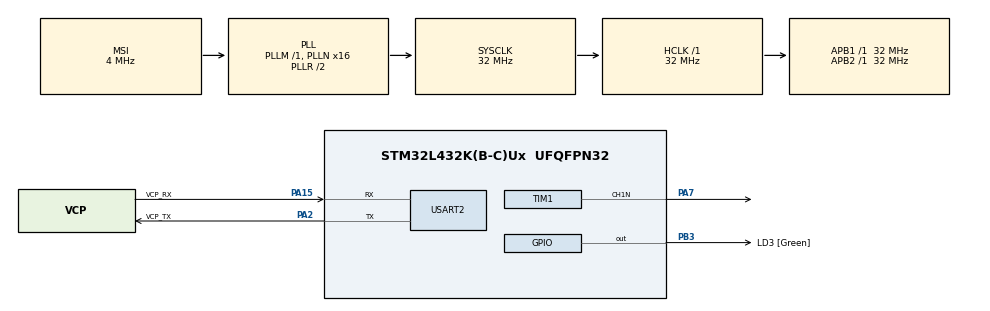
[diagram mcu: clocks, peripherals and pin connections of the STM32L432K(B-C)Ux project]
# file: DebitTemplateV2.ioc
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Mcu.Family=STM32L4
RCC.MSI_VALUE=4000000
PA14\ (JTCK-SWCLK).Mode=Serial_Wire
RCC.CortexFreq_Value=32000000
PA7.Mode=PWM Generation1 CH1N
PA0.GPIO_Label=MCO [High speed clock in]
PC15-OSC32_OUT\ (PC15).Signal=RCC_OSC32_OUT
PA15\ (JTDI).Signal=USART2_RX
PC15-OSC32_OUT\ (PC15).Mode=LSE-External-Oscillator
PA14\ (JTCK-SWCLK).GPIO_Label=SWCLK
PB3\ (JTDO-TRACESWO).GPIO_Label=LD3 [Green]
RCC.SYSCLKSource=RCC_SYSCLKSOURCE_PLLCLK
ProjectManager.StackSize=0x400
PB3\ (JTDO-TRACESWO).Signal=GPIO_Output
PC14-OSC32_IN\ (PC14).Mode=LSE-External-Oscillator
PA14\ (JTCK-SWCLK).Signal=SYS_JTCK-SWCLK
RCC.HSI16_VALUE=16000000
PA15\ (JTDI).Mode=Asynchronous
ProjectManager.TargetToolchain=STM32CubeIDE
RCC.HCLKFreq_Value=32000000
RCC.APB2TimFreq_Value=32000000
RCC.AHBFreq_Value=32000000
RCC.HSE_VALUE=8000000
board=NUCLEO-L432KC
USART2.VirtualMode-Asynchronous=VM_ASYNC
RCC.VCOOutputFreq_Value=64000000
RCC.PLLMUL=RCC_PLLMUL_4
RCC.APB2Freq_Value=32000000
PA13\ (JTMS-SWDIO).GPIO_Label=SWDIO
PA0.Mode=HSE-External-Clock-Source-for-LittleOrca
TIM1.Channel-PWM\ Generation1\ CH1N=TIM_CHANNEL_1
PA15\ (JTDI).GPIO_Label=VCP_RX
Mcu.Name=STM32L432K(B-C)Ux
PA2.Signal=USART2_TX
PA0.Signal=RCC_CK_IN
PA13\ (JTMS-SWDIO).Mode=Serial_Wire
RCC.SYSCLKFreq_VALUE=32000000
Mcu.Package=UFQFPN32
PC14-OSC32_IN\ (PC14).Signal=RCC_OSC32_IN
PA2.GPIO_Label=VCP_TX
ProjectManager.HeapSize=0x200
RCC.HSI_VALUE=16000000
NVIC.PriorityGroup=NVIC_PRIORITYGROUP_4
RCC.PLLN=16
RCC.APB1TimFreq_Value=32000000
PA2.Mode=Asynchronous
PA13\ (JTMS-SWDIO).Signal=SYS_JTMS-SWDIO
RCC.APB1Freq_Value=32000000
RCC.HSI48_VALUE=48000000
PA7.Signal=TIM1_CH1N

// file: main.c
/* USER CODE BEGIN Header */
/*******************************************************************************
 * File Name          : main.c Debit Machine
 * Description        : This is a real time demonstration of Debit Machine
 * 		Consisting of 7 different states - 7th state is initial state
 * 		Consisting of 5 different buttons
 * 		Consisting of a speaker
 * 		Consisting of 1 LCD screen
 * 		Consisting of 1 STM32 Nucleo
 *		Demonstration of real life debit machine.
 *
 *
 * Author:              Sinan KARACA
 * Date:                15.08.2021
 ******************************************************************************
 */
/* USER CODE END Header */
#include "main.h"

/* USER CODE BEGIN Includes */
#include <unistd.h>
#include <stdio.h>
#include "debounce.h"
#include "HD44780.h"

/* USER CODE END Includes */

TIM_HandleTypeDef htim1;

UART_HandleTypeDef huart2;

/* USER CODE BEGIN PV */
static const int16_t leftBtn = 0; //setting the pin assigned to each pb
static const int16_t rightBtn = 1;		//don't use pin 2 as it's connected
static const int16_t downBtn = 4;		//to VCP TX
static const int16_t upBtn = 3;
static const int16_t enterBtn = 7;
float bankCheck;

uint8_t passCode[4] = { '1', '2','3','4'};

uint16_t intAmount;
uint8_t indexTmp = 0;
uint8_t btnState;
//float amount = 1;
int multiplier = 1;
float amount = 1;             	//used to hold the transaction amount

uint8_t passCodesInt[4] = { 9,9,9,9};

uint8_t amountArray[5] = { 0,0,0,0,0};
char str[4] = { "****"} ;
uint8_t tempState;

enum pushButton {
	none, left, right, down, up, enter
};
//enumerated values for use with if
//(pbPressed == value) type conditional
//statements

/* USER CODE END PV */

void SystemClock_Config(void);
static void MX_GPIO_Init(void);
static void MX_USART2_UART_Init(void);
static void MX_TIM1_Init(void);

/* USER CODE BEGIN 0 */

// FUNCTION      : setTone
// DESCRIPTION   : Calculates the PWM Period needed to obtain the freq
//				 : passed and the duty cycle of the PAM to
//				 : 50% (1/2 of the period)
// PARAMETERS    : int32 freq - frequency of the output
// RETURNS       : nothing
void setTone(int32_t freq) {
	int32_t pwmPeriod = 1000000000 / (freq * 250); //value can vary between 2 and 65535
	TIM_MasterConfigTypeDef sMasterConfig;
	TIM_OC_InitTypeDef sConfigOC;
	TIM_BreakDeadTimeConfigTypeDef sBreakDeadTimeConfig;

	htim1.Instance = TIM1;
	htim1.Init.Prescaler = 0;
	htim1.Init.CounterMode = TIM_COUNTERMODE_UP;
	htim1.Init.Period = pwmPeriod;
	htim1.Init.ClockDivision = TIM_CLOCKDIVISION_DIV1;
	htim1.Init.RepetitionCounter = 0;
	if (HAL_TIM_PWM_Init(&htim1) != HAL_OK) {
		Error_Handler();
	}

	sMasterConfig.MasterOutputTrigger = TIM_TRGO_RESET;
	sMasterConfig.MasterOutputTrigger2 = TIM_TRGO2_RESET;
	sMasterConfig.MasterSlaveMode = TIM_MASTERSLAVEMODE_DISABLE;
	if (HAL_TIMEx_MasterConfigSynchronization(&htim1, &sMasterConfig)
			!= HAL_OK) {
		Error_Handler();
	}

	sConfigOC.OCMode = TIM_OCMODE_PWM1;
	sConfigOC.Pulse = pwmPeriod / 2;
	sConfigOC.OCPolarity = TIM_OCPOLARITY_HIGH;
	sConfigOC.OCNPolarity = TIM_OCNPOLARITY_HIGH;
	sConfigOC.OCFastMode = TIM_OCFAST_DISABLE;
	sConfigOC.OCIdleState = TIM_OCIDLESTATE_RESET;
	sConfigOC.OCNIdleState = TIM_OCNIDLESTATE_RESET;
	/* adding this as ST Tech Support said PWM should be stopped before
	 * calling HAL_TIM_PWM_ConfigChannel and I've been getting flakey start-up
	 * i.e.: sometime PWM starts up, other times the line remains stuck high.
	 **************************************/
	HAL_TIM_PWM_Stop(&htim1, TIM_CHANNEL_1);
	/*************************************/
	if (HAL_TIM_PWM_ConfigChannel(&htim1, &sConfigOC, TIM_CHANNEL_1)
			!= HAL_OK) {
		Error_Handler();
	}

	sBreakDeadTimeConfig.OffStateRunMode = TIM_OSSR_DISABLE;
	sBreakDeadTimeConfig.OffStateIDLEMode = TIM_OSSI_DISABLE;
	sBreakDeadTimeConfig.LockLevel = TIM_LOCKLEVEL_OFF;
	sBreakDeadTimeConfig.DeadTime = 0;
	sBreakDeadTimeConfig.BreakState = TIM_BREAK_DISABLE;
	sBreakDeadTimeConfig.BreakPolarity = TIM_BREAKPOLARITY_HIGH;
	sBreakDeadTimeConfig.BreakFilter = 0;
	sBreakDeadTimeConfig.Break2State = TIM_BREAK2_DISABLE;
	sBreakDeadTimeConfig.Break2Polarity = TIM_BREAK2POLARITY_HIGH;
	sBreakDeadTimeConfig.Break2Filter = 0;
	sBreakDeadTimeConfig.AutomaticOutput = TIM_AUTOMATICOUTPUT_DISABLE;
	if (HAL_TIMEx_ConfigBreakDeadTime(&htim1, &sBreakDeadTimeConfig)
			!= HAL_OK) {
		Error_Handler();
	}
	HAL_TIM_MspPostInit(&htim1);
}

// FUNCTION      : waitForPBRelease
// DESCRIPTION   : Loops until the PB that is currently
//				 : pressed and at a logic low
//				 : is released. Release is debounced
// PARAMETERS    : pin - pin number
//                 port- port letter ie 'A'
// RETURNS       : nothing
void waitForPBRelease(const int16_t pin, const char port) {
	while (deBounceReadPin(pin, port, 10) == 0) {
		//do nothing wait for key press to be released
	}
}

// FUNCTION      : startUpLCDSplashScreen()
// DESCRIPTION   : displays Debit Demo for 2s
//                 on line 1 of the display and
//				 : Disappears
// PARAMETERS    : None
// RETURNS       : nothing
void startUpLCDSplashScreen(void) {
	char stringBuffer[16] = { 0 };
	HD44780_GotoXY(0, 0);
	snprintf(stringBuffer, 16, "   Debit Demo");
	HD44780_PutStr(stringBuffer);
	HAL_Delay(2000);
	HD44780_ClrScr();
}

//// FUNCTION      : pinSound()
//// DESCRIPTION   : This is the function makes the sound
////		When each pin pushed
////
//// PARAMETERS    : None
//// RETURNS       : nothing
//
//void pinSound(){
//	setTone(100);
//	HAL_Delay(50);
//	setTone(0);
//}

//// FUNCTION      : bankCheckSound()
//// DESCRIPTION   : This is the function when the transaction
////		is done succesfully.
////
//// PARAMETERS    : None
//// RETURNS       : nothing
//void bankCheckSound(){
//	setTone(2000);
//	HAL_Delay(100);
//	setTone(0);
//	setTone(2000);
//	HAL_Delay(100);
//	setTone(0);
//}

//// FUNCTION      : bankDeniedSound()
//// DESCRIPTION   : This is the function when the transaction
////		is denied by bank.
////
//// PARAMETERS    : None
//// RETURNS       : nothing
//
//void bankDeniedSound(){
//	setTone(10000);
//	HAL_Delay(500);
//}

// FUNCTION      : showChequingOrSavings()
// DESCRIPTION   : The function shows if the transaction will be done
//		from chequing or saving account.
//		or to be cancelled.
//
// PARAMETERS    : None
// RETURNS       : nothing

void showChequingOrSavings (int input){

	char stringBuffer[16] = { 0 };

	if (input == 1) {
		//then up was pressed.
		HD44780_ClrScr();
		snprintf(stringBuffer, 16, "Chequing...");
		HD44780_GotoXY(1, 0);
		HD44780_PutStr(stringBuffer);
	} else if (input == 2) {
		//then down pressed
		HD44780_ClrScr();
		HD44780_GotoXY(1, 0);
		snprintf(stringBuffer, 16, "Savings...");
		HD44780_PutStr(stringBuffer);

	}else if (input == 3) {
		//then right pressed
		HD44780_ClrScr();
		snprintf(stringBuffer, 16, "Cancel...");
		HD44780_GotoXY(1, 0);
		HD44780_PutStr(stringBuffer);

	}

}

// FUNCTION      : pulsePWM
// DESCRIPTION   : Turns on the PWM for the pulseTime in ms
//                 provided and then turns off PWM
// PARAMETERS    : address of Timer Handle var (e.g.: &htim1)
//                 pulseTime in ms
// RETURNS       : nothing
void pulsePWM(TIM_HandleTypeDef *htim1, int32_t pulseTime) {
	HAL_TIMEx_PWMN_Start(htim1, TIM_CHANNEL_1);
	HAL_Delay(pulseTime);
	HAL_TIMEx_PWMN_Stop(htim1, TIM_CHANNEL_1);
}

//  FUNCTION      : pushButtonInit
//   DESCRIPTION   : Calls deBounceInit to initialize ports that
//                   will have pushbutton on them to be inputs.
//			         Initializing PA0,PA1,PA4 and PA3
//                   Switches are assigned as follows
//                   PA0			PA1			PA4			PA3 	PA3
//                   left		right		down			up		enter
//
//                   Note: Don't use PA2 as it is connected to VCP TX and you'll
//                   lose printf output ability.
//   PARAMETERS    : None
//   RETURNS       : nothing
void pushButtonInit(void) {
	deBounceInit(leftBtn, 'A', 1); 		//1 = pullup resistor enabled
	deBounceInit(rightBtn, 'A', 1); 		//1 = pullup resistor enabled
	deBounceInit(downBtn, 'A', 1); 			//1 = pullup resistor enabled
	deBounceInit(upBtn, 'A', 1); 		//1 = pullup resistor enabled
	deBounceInit(enterBtn, 'A', 1);		//1 = pullup resistor enabled
}

// FUNCTION      : displayWelcome()
// DESCRIPTION   : clears the LCD display and displays
//                 Welcome on line 1 of the display
// PARAMETERS    : None
// RETURNS       : nothing
void displayWelcome(void) {
	char stringBuffer[16] = { 0 };
	HD44780_ClrScr();
	snprintf(stringBuffer, 16, "Debit Machine");
	HD44780_PutStr(stringBuffer);
	HD44780_GotoXY(0, 1);
	HD44780_PutStr("Sinan KARACA");
}

// FUNCTION      : wrongPinScreen()
// DESCRIPTION   : Shows if the pin is not correct
//
// PARAMETERS    : None
// RETURNS       : nothing

void wrongPinScreen(){
	HD44780_ClrScr();
	HD44780_GotoXY(0, 0);
	HD44780_PutStr("Wrong Pin!");
	HD44780_GotoXY(0, 1);
	HD44780_PutStr("Try Again !!");
}

// FUNCTION      : succesfullScreen()
// DESCRIPTION   : Shows if the pin is correct
//
// PARAMETERS    : None
// RETURNS       : nothing

void succesfullScreen(void){
	HD44780_ClrScr();
	HD44780_GotoXY(0, 0);
	HD44780_PutStr("Pin Correct!");
	HD44780_GotoXY(0, 1);
	HD44780_PutStr("Wait for bank!");

}

// FUNCTION      : choosePin()
// DESCRIPTION   : Shows how to choose pin
// 		with up and down buttons
//
// PARAMETERS    : None
// RETURNS       : nothing

void choosePin(void){
	HD44780_ClrScr();
	HD44780_GotoXY(0, 0);
	HD44780_PutStr("Choose Pin!");
	HD44780_GotoXY(0, 1);
	HD44780_PutStr("With up&down");
}

// FUNCTION      : displayAmount()
// DESCRIPTION   : clears the LCD display and displays
//                 the $amount received on line 1 of the display
// PARAMETERS    : float - amount to display
// RETURNS       : nothing
void displayAmount(float amount) {
	char stringBuffer[16] = { 0 };
	HD44780_ClrScr();
	snprintf(stringBuffer, 16, "$%.2f", amount);
	HD44780_PutStr(stringBuffer);
}

// FUNCTION      : checkIfBankOk()
// DESCRIPTION   :
// PARAMETERS    : none
// RETURNS       : integer
float checkIfBankOk() {

	float bankCheckTemp ;
	printf("Waiting for the approval of the transaction \r\n");
	printf("Please type 1 for approval \r\n");
	printf("Please type 2 for denial \r\n");
	float result = 0;
	result = scanf("%f", &bankCheckTemp);
	if (result == 0)		//then somehow non-float chars were entered
	{						//and nothing was assigned to %f
		fpurge(STDIN_FILENO); //clear the last erroneous char(s) from the input stream
	}
	return result;
}

// FUNCTION      : checkOkOrCancel()
// DESCRIPTION   : Checks whether the OK or Cancel
//                 button has been pressed.
// PARAMETERS    : none
// RETURNS       : int8_t, 3 if cancel pressed, 4 if ok
//                 ok pressed. 0 returned if neither
//                 has pressed.
enum pushButton checkOkOrCancel(void) {
	if (deBounceReadPin(upBtn, 'A', 10) == 0) {
		//then the cancel pushbutton has been pressed
		return up;
	} else if (deBounceReadPin(downBtn, 'A', 10) == 0) {
		//then ok pressed
		return down;
	}else if (deBounceReadPin(rightBtn, 'A', 10) == 0) {
		//then ok pressed
		return right;
	}else if (deBounceReadPin(leftBtn, 'A', 10) == 0) {
		//then ok pressed
		return left;
	}else if (deBounceReadPin(enterBtn, 'A', 10) == 0) {
		//then ok pressed
		return enter;
	}
	return none; //as ok or cancel was not pressed.
}

// FUNCTION      : displayOkOrCancel()
// DESCRIPTION   : displays "OK or Cancel?" on line 2 of LCD
// PARAMETERS    : none
// RETURNS       : nothing.
void displayOkCancel(float amount) {
	HD44780_ClrScr();
	char stringBuffer[16] = { 0 };
	HD44780_GotoXY(0, 1); //move to second line first position
	snprintf(stringBuffer, 16, "OK or Cancel?");
	HD44780_PutStr(stringBuffer);
	HD44780_GotoXY(9, 0);
	snprintf(stringBuffer, 16, "$%.2f", amount);
	HD44780_PutStr(stringBuffer);
}

// FUNCTION      : receipt()
// DESCRIPTION   : successfull transaction receipt
// PARAMETERS    : none
// RETURNS       : nothing.

void receipt() {
	printf("The transaction was successfull \r\n");

	HD44780_ClrScr();
	HD44780_GotoXY(0, 0);
	HD44780_PutStr("The receipt:");
	HD44780_GotoXY(0, 1);

	if(tempState == 1){
		HD44780_PutStr("Chequing Acc.");
	} else if (tempState == 2) {
		HD44780_PutStr("Savings Acc.");
	}

	HAL_Delay(5000);

	displayAmount(amount);
	HD44780_GotoXY(0, 1);
	HD44780_PutStr("Thank you!");
	HAL_Delay(5000);
}

/* USER CODE END 0 */

int main(void)
{

  /* MCU Configuration--------------------------------------------------------*/

  /* Reset of all peripherals, Initializes the Flash interface and the Systick. */
  HAL_Init();

  /* Configure the system clock */
  SystemClock_Config();

  /* Initialize all configured peripherals */
  MX_GPIO_Init();
  MX_USART2_UART_Init();
  MX_TIM1_Init();
  /* USER CODE BEGIN 2 */

	printf("Debit Card State Machine\r\n");
	HD44780_Init();
	/* setup Port A bits 0,1,2 and 3, i.e.: PA0-PA3 for input */
	pushButtonInit();
	displayWelcome();

  /* USER CODE END 2 */

  /* Infinite loop */
	while (1) {

    /* USER CODE BEGIN 3 */

		static int8_t transactionState = 7;
		enum pushButton pbPressed = none;  //will hold pushbutton defined above depending on
							   	   	   	   //the pushbutton pressed
		/*states:
		 1   For choosing amount from pins
		 2   For approve user typed amount if it is correct
		 3   For choosing Chequing or Saving account
		 4   For compare the pin with the initial pin of 2564 integer value
		 5   Pin Correct, send transaction data to bank. Waiting
		 for OK back from Bank If OK from Bank received. Print
		 Receipt, Record transaction. Move back to State 7.
		 6   Cancel Pressed. Display "Transaction Cancelled" back to state 7
		 7   This is the inital state, it is only sliding welcome string
		 */

		switch (transactionState) {
		case 1: 					//checking for the amout of money which is typed by buttons

			pbPressed = checkOkOrCancel();

			if (pbPressed == none) {
				btnState = 0;
			}

			if (pbPressed != none && btnState == 0) {
				btnState = 1;
				if (pbPressed == down) {
					//Creating pin sound through speaker
//					pinSound();
					//up button means increment the correspounding value
					if (intAmount <= 0) {
						intAmount = 9;
					}else {
						intAmount =  intAmount - 1 ;
					}

				} else if (pbPressed == up) {
					//Creating pin sound through speaker
//					pinSound();
					//up button means increment the correspounding value
					if (intAmount >= 9) {
						intAmount = 0;
					}else {
						intAmount = intAmount + 1;
					}

				} else if (pbPressed == right){
					//Creating pin sound through speaker
//					pinSound();
					//right button means go to next number

					btnState = 1;
					if(multiplier == 4){
						multiplier = 4;
					}else{
						multiplier = multiplier  + 1;
					}
					intAmount = amountArray[multiplier];

				} else if (pbPressed == left){
					//Creating pin sound through speaker
//					pinSound();
					//left button means go to previous number

					btnState = 1;

					if(multiplier == 0){
						multiplier = 0;
					}else{
						multiplier = multiplier -1 ;
					}
					intAmount = amountArray[multiplier];

				} else if (pbPressed == enter){
					//Creating pin sound through speaker
//					pinSound();
					//enter  button work like enter in keyboard
					btnState = 1;
					displayOkCancel(amount);

					transactionState = 2;
					break;

				}
				//amount array is 5 digit 1 dimensional
				// Max decimal number is 999
				// Max float number is 999,99
				// to turn to float the code line below do the job
				amountArray[multiplier] = intAmount;
				amount = 100 * amountArray[0]  + 10 * amountArray[1] + amountArray[2] + amountArray[3] * 0.10 + amountArray[4] * 0.01  ;
				displayAmount(amount);
			}

				transactionState = 1;

			break;
		case 2: 						//amount has been received waiting for

			pbPressed = checkOkOrCancel();

			if (pbPressed != none) {
				if (pbPressed == down) {
//					pinSound();
					//then cancel was pressed.
					displayAmount(amount);
					transactionState = 7;
				} else if (pbPressed == up) {
//					pinSound();
					//then ok pressed
					transactionState = 3;
				}
			}
			break;

		case 3:
			pbPressed = checkOkOrCancel();
			//btnState check is necessary every push of a button
			//every push means 1 time increment, decrement, right or left move.

			if (pbPressed == none) {
				btnState = 0;
			}

			if (pbPressed != none && btnState == 0) {
				btnState = 1;
				if (pbPressed == up) {
//					pinSound();
					tempState = 1;
				} else if (pbPressed == down) {
//					pinSound();
					tempState = 2;
				}else if (pbPressed == right) {
//					pinSound();
					tempState = 3;
				}else if (pbPressed == enter) {
//					pinSound();
					if (tempState == 3){
						transactionState = 1;
						break;
					}else{
						transactionState = 4;
						choosePin();
						break;
					}
				}

				//TempState is showing if the transcation is occured on Chequing or Saving
				//TemState = 1 , Chequing go to state 4
				//TemState = 2 , Savings go to state 4
				//TemState = 3 , Cancel go to state 1
				showChequingOrSavings(tempState);
			}

			break;
		case 4:
			pbPressed = checkOkOrCancel();

			//This is the state that checks if the typed pin is correct
			if (pbPressed == none) {
				btnState = 0;
			}

			if (pbPressed != none && btnState == 0) {
				btnState = 1;
				if (pbPressed == down) {
//					pinSound();

					// decrement the correspounding value
					if (intAmount <= 0) {
						intAmount = 9;
					}else {
						intAmount =  intAmount - 1 ;
					}

				} else if (pbPressed == up) {
//					pinSound();

					// increment the correspounding value
					if (intAmount >= 9) {
						intAmount = 0;
					}else {
						intAmount = intAmount + 1;
					}
					//more code needed to get to state 3 goes here

				} else if (pbPressed == right){
//					pinSound();

					// go to next number
					btnState = 1;
					if(indexTmp == 3){
						indexTmp = 3;
					}else{
						indexTmp = indexTmp + 1;
					}
					intAmount = passCodesInt[indexTmp];

				} else if (pbPressed == left){
//					pinSound();

					// go to previous number
					btnState = 1;
					if(indexTmp == 0){
						indexTmp = 0;
					}else{
						indexTmp = indexTmp - 1;
					}
					intAmount = passCodesInt[indexTmp];

				} else if (pbPressed == enter){
//					pinSound();
					btnState = 1;

					//passCodeTemp is created to get temporary decimal value of pincode
					//each digit stored in array
					int passCodeTemp;
					passCodeTemp = passCodesInt[0] * 1000 + passCodesInt[1] * 100 + passCodesInt[2] * 10 + passCodesInt[3] ;

					//check if password correct with the initial passcode
					if(passCodeTemp == 2564){
						transactionState = 5;
						//Show user if the pincode is correct
						succesfullScreen();
						break;

					}else{

						HD44780_ClrScr();
						HD44780_GotoXY(0, 0);
						HD44780_PutStr("Pin Not Correct");
						HD44780_GotoXY(0, 1);
						HD44780_PutStr("Try Again");
						HAL_Delay(2000);

						transactionState = 1;
						break;

					}
				}
				passCodesInt[indexTmp] = intAmount;

				//The line of codes below
				//Get the value from passCodeInt array and make it string to show on the lcd.
				int i=0;
				int k = 0;
				for (i=0; i<4; i++){
					k += sprintf(&str[k], "%d", passCodesInt[i]);
				}

				HD44780_ClrScr();
				HD44780_GotoXY(0, 0);
				HD44780_PutStr("Pass Code:");
				HD44780_GotoXY(0, 1);
				HD44780_PutStr(str);

			}
			transactionState = 4;
			break;
		case 5:
			//code needed here

			//The function check if the transaction approved from bank.
			bankCheck = checkIfBankOk();

			if (bankCheck == 1){

				HD44780_ClrScr();
				HD44780_GotoXY(0, 0);
				HD44780_PutStr("Succesfull");
				HAL_Delay(2000);
//				bankCheckSound();

				transactionState = 6;
				break;
			} else if (bankCheck != 1){

				//Shows the user if the pin is not correct
				wrongPinScreen();

				//Bank denied sound
//				bankDeniedSound();
				transactionState = 2;
				break;
			}

			break;
		case 6:
			//This is the stage that transcation has been done!
			//Show the receipt to user.
			receipt();
			//Go to initial state.
			transactionState = 7;
			break;
		case 7:
			// The line of code has been created for sliding string on the lcd.
			// This state is the initial state , program start with this stage.
			// it consist of 3 ms delay in for loop
			// The string is suppose to shift right and left in 150 ms.
			for (int i = 0; i < 7; i++) {
				for (int k = 1; k < 51; k++){
					HAL_Delay(3);
					pbPressed = checkOkOrCancel();
					if (pbPressed != none) {
						transactionState = 1;
						break;
					}
				}
				if (pbPressed != none) {
					transactionState = 1;
					break;
				}

				HD44780_ClrScr();
				HD44780_GotoXY(i, 0);
				HD44780_PutStr("*Welcome*");
			}
			for (int i = 6; i > 0; i--) {
				for (int k = 1; k < 51; k++){
					HAL_Delay(3);
					pbPressed = checkOkOrCancel();
					if (pbPressed != none) {
						transactionState = 1;
						break;

					}
				}
				if (pbPressed != none) {
					transactionState = 1;
					break;
				}
				HD44780_ClrScr();
				HD44780_GotoXY(i, 0);
				HD44780_PutStr("*Welcome*");
			}

		default:
			break;
		} //closing brace for switch

	}
  /* USER CODE END 3 */
}

void SystemClock_Config(void)
{
  RCC_OscInitTypeDef RCC_OscInitStruct = {0};
  RCC_ClkInitTypeDef RCC_ClkInitStruct = {0};
  RCC_PeriphCLKInitTypeDef PeriphClkInit = {0};

  /** Configure LSE Drive Capability
  */
  HAL_PWR_EnableBkUpAccess();
  __HAL_RCC_LSEDRIVE_CONFIG(RCC_LSEDRIVE_LOW);
  /** Initializes the RCC Oscillators according to the specified parameters
  * in the RCC_OscInitTypeDef structure.
  */
  RCC_OscInitStruct.OscillatorType = RCC_OSCILLATORTYPE_LSE|RCC_OSCILLATORTYPE_MSI;
  RCC_OscInitStruct.LSEState = RCC_LSE_ON;
  RCC_OscInitStruct.MSIState = RCC_MSI_ON;
  RCC_OscInitStruct.MSICalibrationValue = 0;
  RCC_OscInitStruct.MSIClockRange = RCC_MSIRANGE_6;
  RCC_OscInitStruct.PLL.PLLState = RCC_PLL_ON;
  RCC_OscInitStruct.PLL.PLLSource = RCC_PLLSOURCE_MSI;
  RCC_OscInitStruct.PLL.PLLM = 1;
  RCC_OscInitStruct.PLL.PLLN = 16;
  RCC_OscInitStruct.PLL.PLLP = RCC_PLLP_DIV7;
  RCC_OscInitStruct.PLL.PLLQ = RCC_PLLQ_DIV2;
  RCC_OscInitStruct.PLL.PLLR = RCC_PLLR_DIV2;
  if (HAL_RCC_OscConfig(&RCC_OscInitStruct) != HAL_OK)
  {
    Error_Handler();
  }
  /** Initializes the CPU, AHB and APB buses clocks
  */
  RCC_ClkInitStruct.ClockType = RCC_CLOCKTYPE_HCLK|RCC_CLOCKTYPE_SYSCLK
                              |RCC_CLOCKTYPE_PCLK1|RCC_CLOCKTYPE_PCLK2;
  RCC_ClkInitStruct.SYSCLKSource = RCC_SYSCLKSOURCE_PLLCLK;
  RCC_ClkInitStruct.AHBCLKDivider = RCC_SYSCLK_DIV1;
  RCC_ClkInitStruct.APB1CLKDivider = RCC_HCLK_DIV1;
  RCC_ClkInitStruct.APB2CLKDivider = RCC_HCLK_DIV1;

  if (HAL_RCC_ClockConfig(&RCC_ClkInitStruct, FLASH_LATENCY_1) != HAL_OK)
  {
    Error_Handler();
  }
  PeriphClkInit.PeriphClockSelection = RCC_PERIPHCLK_USART2;
  PeriphClkInit.Usart2ClockSelection = RCC_USART2CLKSOURCE_PCLK1;
  if (HAL_RCCEx_PeriphCLKConfig(&PeriphClkInit) != HAL_OK)
  {
    Error_Handler();
  }
  /** Configure the main internal regulator output voltage
  */
  if (HAL_PWREx_ControlVoltageScaling(PWR_REGULATOR_VOLTAGE_SCALE1) != HAL_OK)
  {
    Error_Handler();
  }
  /** Enable MSI Auto calibration
  */
  HAL_RCCEx_EnableMSIPLLMode();
}

static void MX_TIM1_Init(void)
{

  TIM_MasterConfigTypeDef sMasterConfig = {0};
  TIM_OC_InitTypeDef sConfigOC = {0};
  TIM_BreakDeadTimeConfigTypeDef sBreakDeadTimeConfig = {0};

  htim1.Instance = TIM1;
  htim1.Init.Prescaler = 0;
  htim1.Init.CounterMode = TIM_COUNTERMODE_UP;
  htim1.Init.Period = 65535;
  htim1.Init.ClockDivision = TIM_CLOCKDIVISION_DIV1;
  htim1.Init.RepetitionCounter = 0;
  htim1.Init.AutoReloadPreload = TIM_AUTORELOAD_PRELOAD_DISABLE;
  if (HAL_TIM_PWM_Init(&htim1) != HAL_OK)
  {
    Error_Handler();
  }
  sMasterConfig.MasterOutputTrigger = TIM_TRGO_RESET;
  sMasterConfig.MasterOutputTrigger2 = TIM_TRGO2_RESET;
  sMasterConfig.MasterSlaveMode = TIM_MASTERSLAVEMODE_DISABLE;
  if (HAL_TIMEx_MasterConfigSynchronization(&htim1, &sMasterConfig) != HAL_OK)
  {
    Error_Handler();
  }
  sConfigOC.OCMode = TIM_OCMODE_PWM1;
  sConfigOC.Pulse = 0;
  sConfigOC.OCPolarity = TIM_OCPOLARITY_HIGH;
  sConfigOC.OCNPolarity = TIM_OCNPOLARITY_HIGH;
  sConfigOC.OCFastMode = TIM_OCFAST_DISABLE;
  sConfigOC.OCIdleState = TIM_OCIDLESTATE_RESET;
  sConfigOC.OCNIdleState = TIM_OCNIDLESTATE_RESET;
  if (HAL_TIM_PWM_ConfigChannel(&htim1, &sConfigOC, TIM_CHANNEL_1) != HAL_OK)
  {
    Error_Handler();
  }
  sBreakDeadTimeConfig.OffStateRunMode = TIM_OSSR_DISABLE;
  sBreakDeadTimeConfig.OffStateIDLEMode = TIM_OSSI_DISABLE;
  sBreakDeadTimeConfig.LockLevel = TIM_LOCKLEVEL_OFF;
  sBreakDeadTimeConfig.DeadTime = 0;
  sBreakDeadTimeConfig.BreakState = TIM_BREAK_DISABLE;
  sBreakDeadTimeConfig.BreakPolarity = TIM_BREAKPOLARITY_HIGH;
  sBreakDeadTimeConfig.BreakFilter = 0;
  sBreakDeadTimeConfig.Break2State = TIM_BREAK2_DISABLE;
  sBreakDeadTimeConfig.Break2Polarity = TIM_BREAK2POLARITY_HIGH;
  sBreakDeadTimeConfig.Break2Filter = 0;
  sBreakDeadTimeConfig.AutomaticOutput = TIM_AUTOMATICOUTPUT_DISABLE;
  if (HAL_TIMEx_ConfigBreakDeadTime(&htim1, &sBreakDeadTimeConfig) != HAL_OK)
  {
    Error_Handler();
  }
  HAL_TIM_MspPostInit(&htim1);

}

static void MX_USART2_UART_Init(void)
{

  huart2.Instance = USART2;
  huart2.Init.BaudRate = 115200;
  huart2.Init.WordLength = UART_WORDLENGTH_8B;
  huart2.Init.StopBits = UART_STOPBITS_1;
  huart2.Init.Parity = UART_PARITY_NONE;
  huart2.Init.Mode = UART_MODE_TX_RX;
  huart2.Init.HwFlowCtl = UART_HWCONTROL_NONE;
  huart2.Init.OverSampling = UART_OVERSAMPLING_16;
  huart2.Init.OneBitSampling = UART_ONE_BIT_SAMPLE_DISABLE;
  huart2.AdvancedInit.AdvFeatureInit = UART_ADVFEATURE_NO_INIT;
  if (HAL_UART_Init(&huart2) != HAL_OK)
  {
    Error_Handler();
  }

}

static void MX_GPIO_Init(void)
{
  GPIO_InitTypeDef GPIO_InitStruct = {0};

  /* GPIO Ports Clock Enable */
  __HAL_RCC_GPIOC_CLK_ENABLE();
  __HAL_RCC_GPIOA_CLK_ENABLE();
  __HAL_RCC_GPIOB_CLK_ENABLE();

  /*Configure GPIO pin Output Level */
  HAL_GPIO_WritePin(LD3_GPIO_Port, LD3_Pin, GPIO_PIN_RESET);

  /*Configure GPIO pin : LD3_Pin */
  GPIO_InitStruct.Pin = LD3_Pin;
  GPIO_InitStruct.Mode = GPIO_MODE_OUTPUT_PP;
  GPIO_InitStruct.Pull = GPIO_NOPULL;
  GPIO_InitStruct.Speed = GPIO_SPEED_FREQ_LOW;
  HAL_GPIO_Init(LD3_GPIO_Port, &GPIO_InitStruct);

}

void Error_Handler(void)
{
}

/************************ (C) COPYRIGHT STMicroelectronics *****END OF FILE****/
